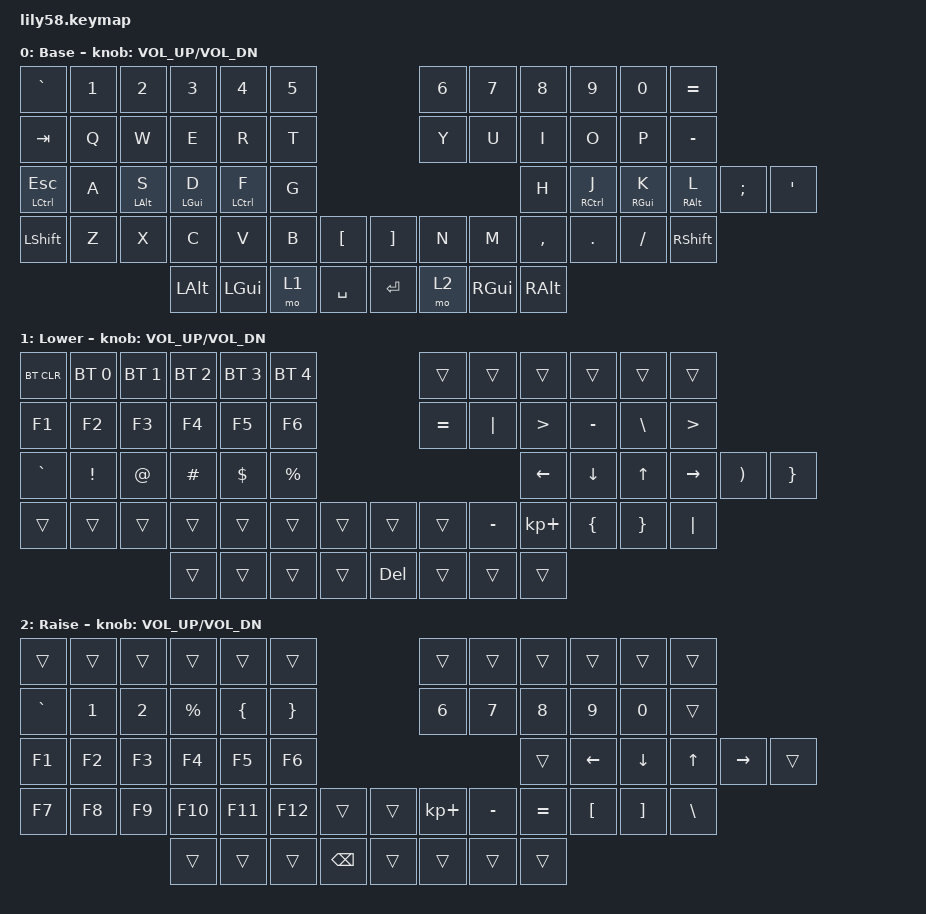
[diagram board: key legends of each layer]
/*
 * Copyright (c) 2020 The ZMK Contributors
 *
 * SPDX-License-Identifier: MIT
 */

#include <behaviors.dtsi>
#include <dt-bindings/zmk/keys.h>
#include <dt-bindings/zmk/bt.h>
#include <dt-bindings/zmk/ext_power.h>

// For HRM
#include "zmk-helpers/helper.h"

ZMK_BEHAVIOR(hrm, hold_tap,
    flavor = "balanced";
    tapping-term-ms = <280>;
    quick-tap-ms = <125>;
    bindings = <&kp>, <&kp>;
)

/ {
    keymap {
        compatible = "zmk,keymap";

        default_layer {
// ------------------------------------------------------------------------------------------------------------
// |  ESC  |  1  |  2  |  3   |  4   |  5   |                   |  6   |  7    |  8    |  9   |   0   |   `   |
// |  TAB  |  Q  |  W  |  E   |  R   |  T   |                   |  Y   |  U    |  I    |  O   |   P   |   -   |
// |  CTRL |  A  |  S  |  D   |  F   |  G   |                   |  H   |  J    |  K    |  L   |   ;   |   '   |
// | SHIFT |  Z  |  X  |  C   |  V   |  B   |   "["  |  |  "]"  |  N   |  M    |  ,    |  .   |   /   | SHIFT |
//                     | ALT  | GUI  | LOWER|  SPACE |  | ENTER | RAISE| BSPC  | GUI   |
            display-name = "Base";
            bindings = <
&kp GRAVE     &kp N1 &kp N2 &kp N3      &kp N4       &kp N5                     &kp N6 &kp N7   &kp N8    &kp N9  &kp N0   &kp EQUAL
&kp TAB       &kp Q  &kp W  &kp E       &kp R        &kp T                      &kp Y  &kp U    &kp I     &kp O   &kp P    &kp MINUS
&mt LCTRL ESC &kp A  &hrm LALT S  &hrm LGUI D &hrm LCTRL F &kp G               &kp H  &hrm RCTRL J    &hrm RGUI K     &hrm RALT L   &kp SEMI &kp SQT
&kp LSHFT     &kp Z  &kp X  &kp C       &kp V        &kp B  &kp LBKT   &kp RBKT &kp N  &kp M    &kp COMMA &kp DOT &kp FSLH &kp RSHFT
                            &kp LALT    &kp LGUI     &mo 1  &kp SPACE  &kp RET  &mo 2  &kp RGUI &kp RALT
            >;

            sensor-bindings = <&inc_dec_kp C_VOL_UP C_VOL_DN>;
        };

        lower_layer {
// ------------------------------------------------------------------------------------------------------------
// | BTCLR | BT1 | BT2 |  BT3 |  BT4 |  BT5 |                   |      |       |       |      |       |       |
// |  F1   |  F2 |  F3 |  F4  |  F5  |  F6  |                   |  F7  |  F8   |  F9   |  F10 |  F11  |  F12  |
// |   `   |  !  |  @  |  #   |  $   |  %   |                   |  ^   |  &    |  *    |  (   |   )   |   ~   |
// |       |     |     |      |      |      |        |  |       |      |  _    |  +    |  <   |   >   |  "|"  |
//                     |      |      |      |        |  |       |      |       |       |
            display-name = "Lower";
            bindings = <
&bt BT_CLR &bt BT_SEL 0     &bt BT_SEL 1      &bt BT_SEL 2      &bt BT_SEL 3 &bt BT_SEL 4                   &trans    &trans    &trans           &trans        &trans    &trans
&kp F1     &kp F2           &kp F3            &kp F4            &kp F5       &kp F6                         &kp EQUAL  &kp PIPE  &kp GREATER_THAN &kp MINUS &kp BSLH  &kp GREATER_THAN
&kp GRAVE  &kp EXCL         &kp AT            &kp HASH          &kp DOLLAR   &kp PRCNT                      &kp LEFT  &kp DOWN  &kp UP           &kp RIGHT     &kp RPAR  &kp RBRC
&trans     &trans           &trans            &trans            &trans       &trans    &trans   &trans      &trans    &kp MINUS &kp KP_PLUS      &kp LBRC  &kp RBRC  &kp PIPE
                                              &trans            &trans       &trans    &trans   &kp DELETE  &trans    &trans    &trans
            >;

            sensor-bindings = <&inc_dec_kp C_VOL_UP C_VOL_DN>;
        };

        raise_layer {
// ------------------------------------------------------------------------------------------------------------
// |       |     |     |      |      |      |                   |      |       |       |      |       |       |
// |   `   |  1  |  2  |  3   |  4   |  5   |                   |  6   |   7   |   8   |  9   |   0   |       |
// |   F1  |  F2 |  F3 |  F4  |  F5  |  F6  |                   |      |   <-  |   v   |  ^   |  ->   |       |
// |   F7  |  F8 |  F9 |  F10 |  F11 |  F12 |        |  |       |  +   |   -   |   =   |  [   |   ]   |   \   |
//                     |      |      |      |        |  |       |      |       |       |
            display-name = "Raise";
            bindings = <
&trans    &trans &trans &trans    &trans  &trans                       &trans      &trans    &trans    &trans   &trans    &trans
&kp GRAVE &kp N1 &kp N2 &kp PRCNT &kp LEFT_BRACE  &kp RIGHT_BRACE                &kp N6      &kp N7    &kp N8    &kp N9   &kp N0    &trans
&kp F1    &kp F2 &kp F3 &kp F4    &kp F5  &kp F6                       &trans      &kp LEFT  &kp DOWN  &kp UP   &kp RIGHT &trans
&kp F7    &kp F8 &kp F9 &kp F10   &kp F11 &kp F12   &trans   &trans    &kp KP_PLUS &kp MINUS &kp EQUAL &kp LBKT &kp RBKT  &kp BSLH
                        &trans    &trans  &trans    &kp BSPC   &trans    &trans      &trans    &trans
            >;

            sensor-bindings = <&inc_dec_kp C_VOL_UP C_VOL_DN>;
        };

        extra_1 {
            status = "reserved";
        };

        extra_2 {
            status = "reserved";
        };

        extra_3 {
            status = "reserved";
        };
    };
};
